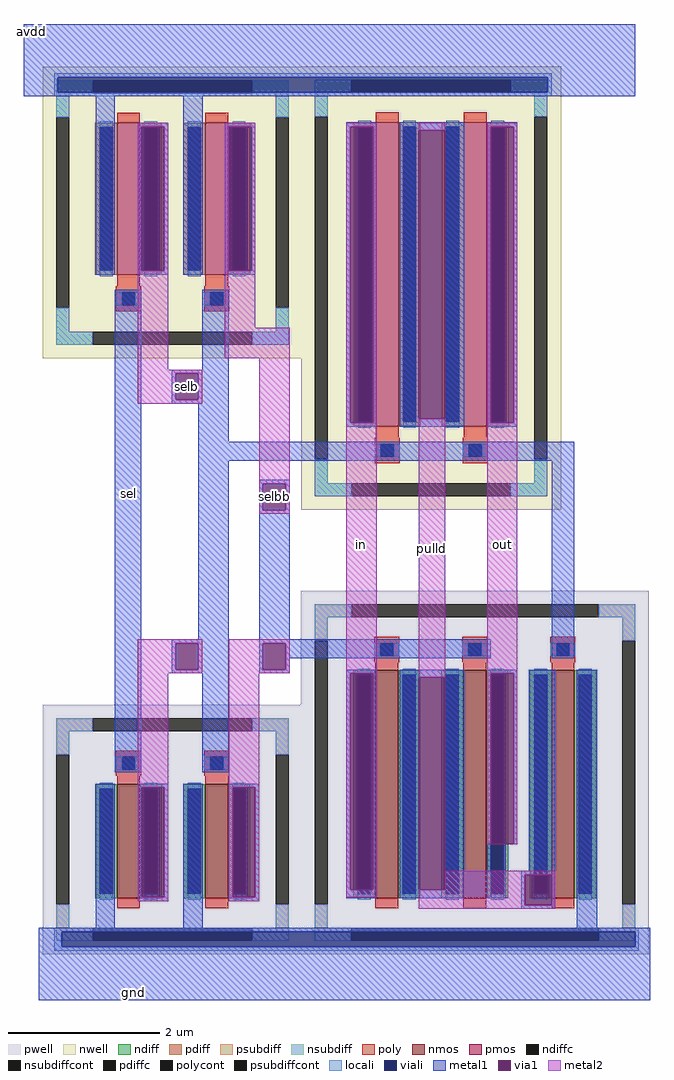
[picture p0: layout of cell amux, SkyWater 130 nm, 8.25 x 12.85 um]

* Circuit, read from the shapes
.subckt amux gnd in out sel avdd selbb
XM1 selb sel gnd gnd sky130_fd_pr__nfet_01v8 w=1.5 l=0.3
XM2 selbb selb gnd gnd sky130_fd_pr__nfet_01v8 w=1.5 l=0.3
XM3 pulld selbb in gnd sky130_fd_pr__nfet_01v8 w=3 l=0.3
XM4 out selbb pulld gnd sky130_fd_pr__nfet_01v8 w=3 l=0.3
XM5 gnd selb pulld gnd sky130_fd_pr__nfet_01v8 w=3 l=0.3
XM6 selb sel avdd avdd sky130_fd_pr__pfet_01v8 w=2 l=0.3
XM7 selbb selb avdd avdd sky130_fd_pr__pfet_01v8 w=2 l=0.3
XM8 pulld selb in avdd sky130_fd_pr__pfet_01v8 w=4 l=0.3
XM9 out selb pulld avdd sky130_fd_pr__pfet_01v8 w=4 l=0.3
.ends

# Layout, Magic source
magic
tech sky130A
magscale 1 2
<< locali >>
rect -390 1140 920 1150
rect -390 1100 -380 1140
rect 910 1100 920 1140
rect -390 1090 920 1100
rect -390 -1110 1150 -1100
rect -390 -1150 -370 -1110
rect 1140 -1150 1150 -1110
rect -390 -1160 1150 -1150
<< viali >>
rect -380 1100 910 1140
rect -370 -1150 1140 -1110
<< metal1 >>
rect -470 1140 1140 1280
rect -470 1100 -380 1140
rect 910 1100 1140 1140
rect -470 1090 1140 1100
rect -280 620 -230 1090
rect -170 1010 -90 1020
rect -170 630 -160 1010
rect -100 630 -90 1010
rect -170 620 -90 630
rect -50 620 2 1090
rect 60 1010 140 1020
rect 60 630 70 1010
rect 130 630 140 1010
rect 60 620 140 630
rect 380 1010 460 1021
rect -230 -690 -160 580
rect 0 370 70 580
rect -80 360 70 370
rect -80 290 -70 360
rect -10 290 70 360
rect -80 280 70 290
rect -10 180 70 280
rect 380 230 390 1010
rect 450 230 460 1010
rect 380 220 460 230
rect 520 1000 690 1021
rect 520 240 570 1000
rect 640 240 690 1000
rect 520 220 690 240
rect 750 1010 830 1021
rect 750 230 760 1010
rect 820 230 830 1010
rect 750 220 830 230
rect -10 130 980 180
rect -10 -340 70 130
rect -80 -350 70 -340
rect -80 -420 -70 -350
rect -10 -420 70 -350
rect -80 -430 70 -420
rect 150 70 230 80
rect 150 0 160 70
rect 220 0 230 70
rect 150 -340 230 0
rect 150 -350 760 -340
rect 150 -420 160 -350
rect 220 -390 760 -350
rect 920 -390 980 130
rect 220 -420 230 -390
rect 150 -430 230 -420
rect 380 -430 460 -420
rect 0 -690 70 -430
rect -280 -1100 -230 -720
rect -170 -730 -90 -720
rect -170 -1020 -160 -730
rect -100 -1020 -90 -730
rect -170 -1030 -90 -1020
rect -50 -722 2 -720
rect -50 -1021 0 -722
rect 70 -730 150 -720
rect 70 -1020 80 -730
rect 140 -1020 150 -730
rect -50 -1100 2 -1021
rect 70 -1030 150 -1020
rect 380 -1000 390 -430
rect 450 -1000 460 -430
rect 380 -1022 460 -1000
rect 520 -440 690 -420
rect 520 -1000 570 -440
rect 640 -1000 690 -440
rect 520 -1022 690 -1000
rect 750 -430 830 -420
rect 750 -880 760 -430
rect 820 -880 830 -430
rect 750 -1022 754 -880
rect 860 -950 930 -420
rect 986 -422 1040 -420
rect 840 -960 930 -950
rect 840 -1040 850 -960
rect 920 -1040 930 -960
rect 990 -1018 1040 -422
rect 840 -1050 930 -1040
rect 986 -1100 1040 -1018
rect -430 -1110 1180 -1100
rect -430 -1150 -370 -1110
rect 1140 -1150 1180 -1110
rect -430 -1290 1180 -1150
<< via1 >>
rect -160 630 -100 1010
rect 70 630 130 1010
rect -70 290 -10 360
rect 390 230 450 1010
rect 570 240 640 1000
rect 760 230 820 1010
rect -70 -420 -10 -350
rect 160 0 220 70
rect 160 -420 220 -350
rect -160 -1020 -100 -730
rect 80 -1020 140 -730
rect 390 -1000 450 -430
rect 570 -1000 640 -440
rect 760 -880 820 -430
rect 850 -1040 920 -960
<< metal2 >>
rect -170 1010 -90 1020
rect -170 630 -160 1010
rect -100 630 -90 1010
rect -170 370 -90 630
rect 60 1010 140 1020
rect 60 630 70 1010
rect 130 630 140 1010
rect 60 480 140 630
rect 380 1010 460 1020
rect 60 400 230 480
rect -170 360 0 370
rect -170 290 -70 360
rect -10 290 0 360
rect -170 280 0 290
rect 150 70 230 400
rect 150 0 160 70
rect 220 0 230 70
rect 150 -10 230 0
rect 380 230 390 1010
rect 450 230 460 1010
rect -170 -350 0 -340
rect -170 -420 -70 -350
rect -10 -420 0 -350
rect -170 -430 0 -420
rect 70 -350 230 -340
rect 70 -420 160 -350
rect 220 -420 230 -350
rect 70 -430 230 -420
rect 380 -430 460 230
rect -170 -730 -90 -430
rect -170 -1020 -160 -730
rect -100 -1020 -90 -730
rect -170 -1030 -90 -1020
rect 70 -730 150 -430
rect 70 -1020 80 -730
rect 140 -1020 150 -730
rect 380 -1000 390 -430
rect 450 -1000 460 -430
rect 380 -1020 460 -1000
rect 570 1000 640 1020
rect 570 -440 640 240
rect 750 1010 830 1020
rect 750 230 760 1010
rect 820 230 830 1010
rect 750 -430 830 230
rect 750 -880 760 -430
rect 820 -880 830 -430
rect 640 -960 930 -950
rect 640 -1000 850 -960
rect 70 -1030 150 -1020
rect 570 -1040 850 -1000
rect 920 -1040 930 -960
rect 570 -1050 930 -1040
use sky130_fd_pr__nfet_01v8_4H3DC2  sky130_fd_pr__nfet_01v8_4H3DC2_0
transform 1 0 -78 0 1 -841
box -342 -329 342 329
use sky130_fd_pr__nfet_01v8_CEBZ9C  sky130_fd_pr__nfet_01v8_CEBZ9C_0
transform 1 0 718 0 1 -691
box -458 -479 458 479
use sky130_fd_pr__pfet_01v8_JRTECF  sky130_fd_pr__pfet_01v8_JRTECF_0
transform 1 0 603 0 1 585
box -342 -584 342 584
use sky130_fd_pr__pfet_01v8_XPMEXS  sky130_fd_pr__pfet_01v8_XPMEXS_0
transform 1 0 -78 0 1 784
box -342 -384 342 384
<< labels >>
rlabel metal1 -190 -1280 -170 -1260 0 gnd
port 1 nsew
rlabel metal2 390 -130 450 -50 0 in
port 2 nsew
rlabel metal2 760 -130 820 -50 0 out
port 3 nsew
rlabel metal1 -220 20 -170 70 0 sel
port 4 nsew
rlabel metal1 -460 1250 -440 1270 0 avdd
port 5 nsew
rlabel via1 -70 290 -10 360 0 selb
rlabel via1 160 0 220 70 0 selbb
port 6 nsew
rlabel metal2 589 -119 620 -81 1 pulld
<< end >>

# cell sky130_fd_pr__nfet_01v8_4H3DC2: kit device sky130_fd_pr__nfet_01v8, w 1.5 l 0.3 m 1 nf 2 diffcov 100 polycov 100 guard 1 glc 1 grc 1 gtc 1 gbc 1 tbcov 100 rlcov 100 topc 1 botc 0 poverlap 0 doverlap 0 lmin 0.15 wmin 0.42 class mosfet compatible {sky130_fd_pr__nfet_01v8 sky130_fd_pr__nfet_01v8_lvt sky130_fd_bs_flash__special_sonosfet_star sky130_fd_pr__nfet_g5v0d10v5 sky130_fd_pr__nfet_05v0_nvt sky130_fd_pr__nfet_03v3_nvt} full_metal 1 conn_gates 0 viasrc 100 viadrn 100 viagate 100 viagb 0 viagr 0 viagl 0 viagt 0 doports 1

# cell sky130_fd_pr__nfet_01v8_CEBZ9C: kit device sky130_fd_pr__nfet_01v8, w 3 l 0.3 m 1 nf 3 diffcov 100 polycov 100 guard 1 glc 1 grc 1 gtc 1 gbc 1 tbcov 100 rlcov 100 topc 1 botc 0 poverlap 0 doverlap 0 lmin 0.15 wmin 0.42 class mosfet compatible {sky130_fd_pr__nfet_01v8 sky130_fd_pr__nfet_01v8_lvt sky130_fd_bs_flash__special_sonosfet_star sky130_fd_pr__nfet_g5v0d10v5 sky130_fd_pr__nfet_05v0_nvt sky130_fd_pr__nfet_03v3_nvt} full_metal 1 conn_gates 0 viasrc 100 viadrn 100 viagate 100 viagb 0 viagr 0 viagl 0 viagt 0 doports 1

# cell sky130_fd_pr__pfet_01v8_JRTECF: kit device sky130_fd_pr__pfet_01v8, w 4 l 0.3 m 1 nf 2 diffcov 100 polycov 100 guard 1 glc 1 grc 1 gtc 1 gbc 1 tbcov 100 rlcov 100 topc 0 botc 1 poverlap 0 doverlap 0 lmin 0.15 wmin 0.42 class mosfet compatible {sky130_fd_pr__pfet_01v8 sky130_fd_pr__pfet_01v8_lvt sky130_fd_pr__pfet_01v8_hvt sky130_fd_pr__pfet_g5v0d10v5} full_metal 1 conn_gates 0 viasrc 100 viadrn 100 viagate 100 viagb 0 viagr 0 viagl 0 viagt 0 doports 1

# cell sky130_fd_pr__pfet_01v8_XPMEXS: kit device sky130_fd_pr__pfet_01v8, w 2 l 0.3 m 1 nf 2 diffcov 100 polycov 100 guard 1 glc 1 grc 1 gtc 1 gbc 1 tbcov 100 rlcov 100 topc 0 botc 1 poverlap 0 doverlap 0 lmin 0.15 wmin 0.42 class mosfet compatible {sky130_fd_pr__pfet_01v8 sky130_fd_pr__pfet_01v8_lvt sky130_fd_pr__pfet_01v8_hvt sky130_fd_pr__pfet_g5v0d10v5} full_metal 1 conn_gates 0 viasrc 100 viadrn 100 viagate 100 viagb 0 viagr 0 viagl 0 viagt 0 doports 1
